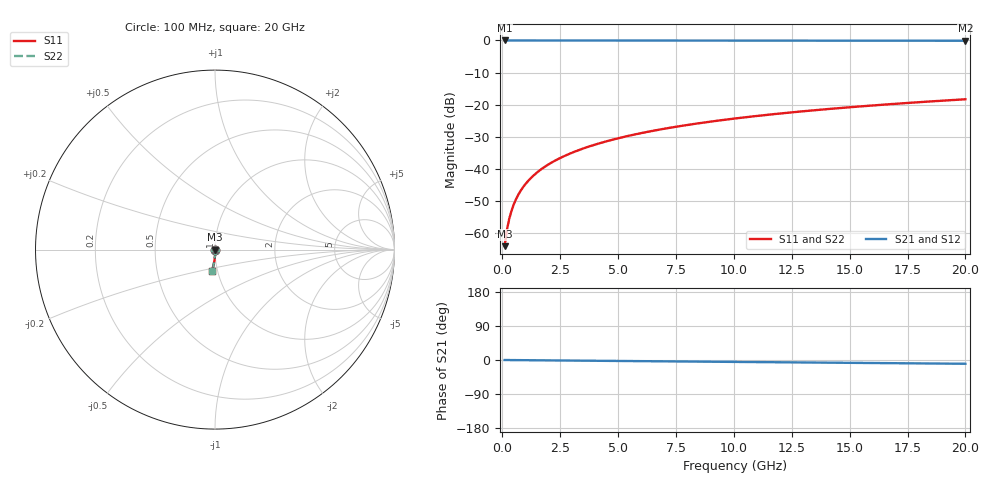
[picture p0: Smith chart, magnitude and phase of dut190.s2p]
! Touchstone file exported from HFSS 2026.1.0
!  File:  C:/ffzhzh/LocalFiles/Ansys_Project_Files/temp_train_TSV_190_1782991523_40604.aedt
!  Generated:  07:26:40 PM Jul  2, 2026
!  Design:  TSV
!  Project:  temp_train_TSV_190_1782991523_40604
! Variables:
!  h_bsmrdl = 2um
!  h_ox = 20um
!  h_rdl = 5um
!  h_sub = 76.24um
!  h_tmrdl = 5um
!  h_tsv = 76.24um
!  h_via = 3um
!  l_bsmrdl = 300um
!  l_sub = 410.88um
!  l_tmrdl = 200um
!  m_sub = 200um
!  pitch = 12.44um
!  r_tsv = 5.44um
!  s_tmrdl = 10um
!  w_bsmrdl = 18um
!  w_sub = 500um
!  w_tmrdl = 12um
!  x_tsv_center1 = 206um
!  x_tsv_center2 = 524um
!  x_tsv_center3 = 736um
!  x_tsv_center4 = 1054um
!  x_tsv_center5 = 1266um
!  x_tsv_center6 = 1584um
# GHz S MA R 50.000000
! Terminal data exported
! Port[1] = TSV1_1_T1
! Port[2] = TSV1_1_T2
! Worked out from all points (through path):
!   200 points, 100 MHz to 20 GHz, reference 50 ohm
!   highest |S21| = 0.00 dB at 100 MHz (marker M1); lowest = -0.1 dB at 20 GHz (marker M2)
!   group delay of S21, straight-line fit = 1.38 ps
!   lowest |S11| = -64.2 dB at 100 MHz (marker M3), VSWR 1.00, Z = 50 - j0.051 ohm
!   |S11| at or under -10 dB: start of sweep to end of sweep
!   |S22| runs from -64.2 to -18.3 dB; largest |S21 - S12| = 3e-15
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0.1  0.0006178 -55.5  0.9996 -0.1  0.9996 -0.1  0.0006178 -55.5
! Gamma 0 0 0 0
! Port Impedance 50 0 50 0
0.2  0.001108 -69.3  0.9996 -0.1  0.9996 -0.1  0.001108 -69.3
0.3  0.001648 -74.5  0.9996 -0.2  0.9996 -0.2  0.001648 -74.5
0.4  0.002214 -77.2  0.9995 -0.2  0.9995 -0.2  0.002214 -77.2
0.5  0.002793 -79.1  0.9995 -0.3  0.9995 -0.3  0.002793 -79.1
0.6  0.00338 -80.5  0.9994 -0.3  0.9994 -0.3  0.00338 -80.5
0.7  0.00397 -81.5  0.9994 -0.4  0.9994 -0.4  0.00397 -81.5
0.8  0.004562 -82.4  0.9993 -0.4  0.9993 -0.4  0.004562 -82.4
1  0.005748 -83.7  0.9993 -0.5  0.9993 -0.5  0.005748 -83.7
1.4  0.008119 -85.4  0.9992 -0.7  0.9992 -0.7  0.008119 -85.4
1.7  0.009899 -86.2  0.9991 -0.9  0.9991 -0.9  0.009899 -86.2
2  0.01168 -86.8  0.9991 -1.0  0.9991 -1.0  0.01168 -86.8
2.7  0.01586 -87.8  0.9989 -1.4  0.9989 -1.4  0.01586 -87.8
3.5  0.02067 -88.6  0.9986 -1.8  0.9986 -1.8  0.02067 -88.6
4.2  0.0249 -89.1  0.9984 -2.1  0.9984 -2.1  0.0249 -89.1
5  0.02976 -89.7  0.9981 -2.5  0.9981 -2.5  0.02976 -89.7
6.8  0.04075 -91.0  0.9974 -3.4  0.9974 -3.4  0.04075 -91.0
8.3  0.04992 -91.9  0.9968 -4.2  0.9968 -4.2  0.04992 -91.9
10.1  0.06093 -93.0  0.996 -5.1  0.996 -5.1  0.06093 -93.0
13.4  0.08105 -94.9  0.9942 -6.7  0.9942 -6.7  0.08105 -94.9
16.7  0.1011 -96.7  0.992 -8.3  0.992 -8.3  0.1011 -96.7
20  0.121 -98.4  0.9894 -9.9  0.9894 -9.9  0.121 -98.4
